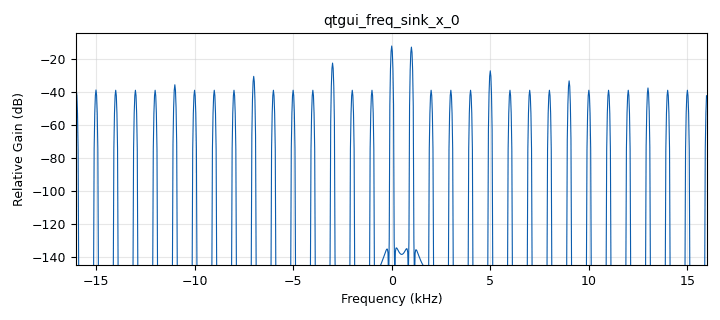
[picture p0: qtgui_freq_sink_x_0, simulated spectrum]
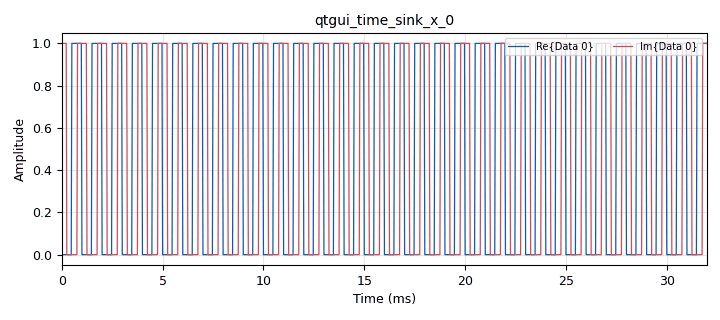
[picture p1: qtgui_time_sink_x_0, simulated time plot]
options:
  parameters:
    author: jkita
    generate_options: qt_gui
    id: lesson2
    output_language: python
    title: Not titled yet
  states: {}

blocks:
- name: freq
  id: variable_qtgui_range
  parameters:
    min_len: '10'
    start: '0'
    step: 1e3
    stop: 32e3
    value: 1e3
  states: {}
- name: samp_rate
  id: variable
  parameters:
    value: '32000'
  states: {}
- name: analog_sig_source_x_0
  id: analog_sig_source_x
  parameters:
    amp: '1'
    freq: freq
    offset: '0'
    phase: '0'
    samp_rate: samp_rate
    type: complex
    waveform: analog.GR_COS_WAVE
  states: {state: disabled}
- name: analog_sig_source_x_0_0
  id: analog_sig_source_x
  parameters:
    amp: '1'
    freq: freq
    offset: '0'
    phase: '0'
    samp_rate: samp_rate
    type: complex
    waveform: analog.GR_SQR_WAVE
  states: {}
- name: blocks_throttle_0
  id: blocks_throttle
  parameters:
    samples_per_second: samp_rate
    type: complex
  states: {}
- name: qtgui_freq_sink_x_0
  id: qtgui_freq_sink_x
  parameters:
    autoscale: 'True'
    bw: samp_rate
    ctrlpanel: 'True'
    fc: '0'
    fftsize: '1024'
    grid: 'True'
    type: complex
  states: {}
- name: qtgui_sink_x_0
  id: qtgui_sink_x
  parameters:
    bw: samp_rate
    fc: '0'
    fftsize: '1024'
    showports: 'True'
    showrf: 'True'
    type: complex
  states: {state: disabled}
- name: qtgui_time_sink_x_0
  id: qtgui_time_sink_x
  parameters:
    autoscale: 'True'
    ctrlpanel: 'True'
    grid: 'True'
    size: '1024'
    srate: samp_rate
    type: complex
  states: {}

connections:
- [analog_sig_source_x_0, '0', blocks_throttle_0, '0']
- [analog_sig_source_x_0_0, '0', blocks_throttle_0, '0']
- [blocks_throttle_0, '0', qtgui_freq_sink_x_0, '0']
- [blocks_throttle_0, '0', qtgui_sink_x_0, '0']
- [blocks_throttle_0, '0', qtgui_time_sink_x_0, '0']

metadata:
  file_format: 1
  grc_version: 3.10.5.1
